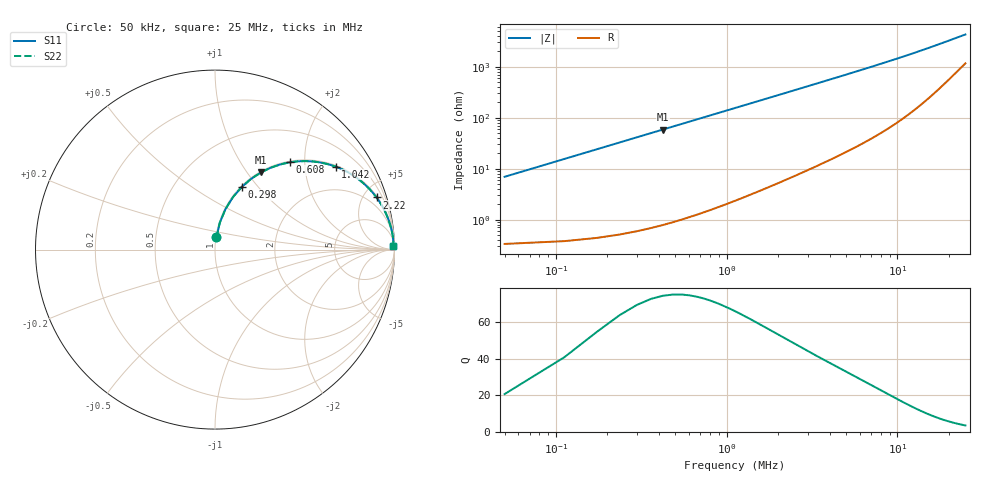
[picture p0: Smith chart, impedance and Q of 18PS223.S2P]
! Coilcraft 1812PS-223 Power Chip Inductor
! 1 October 2002
# MHZ S MA R 50
!Freq  MagS11  AngS11  MagS21  AngS21  MagS12  AngS12  MagS22  AngS22
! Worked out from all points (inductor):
!   404 points, 50 kHz to 25 MHz, reference 50 ohm
!   read as one part in series: L = 22 uH near 174 kHz
!   highest Q = 74.1 at 422 kHz (marker M1), where L = 22 uH
!   S11 on the Smith chart (normalised r, x): 50 kHz: 1.01, +0.14; 298 kHz: 1.01, +0.82; 608 kHz: 1.02, +1.68; 1.042 MHz: 1.04, +2.88; 2.22 MHz: 1.12, +6.15; 25 MHz: 24, +83
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0.05  0.0688 83.3  0.9943 -3.9  0.9943 -3.9  0.0688 83.3
0.112  0.1525 79.8  0.9846 -8.8  0.9846 -8.8  0.1525 79.8
0.236  0.3088 71.1  0.9463 -18.0  0.9463 -18.0  0.3088 71.1
0.298  0.379 66.9  0.92 -22.3  0.92 -22.3  0.379 66.9
0.36  0.4431 62.9  0.8904 -26.3  0.8904 -26.3  0.4431 62.9
0.422  0.501 59.2  0.8588 -30.1  0.8588 -30.1  0.501 59.2
0.484  0.5527 55.7  0.826 -33.6  0.826 -33.6  0.5527 55.7
0.608  0.6393 49.5  0.7605 -39.7  0.7605 -39.7  0.6393 49.5
0.794  0.7342 42.0  0.6688 -47.2  0.6688 -47.2  0.7342 42.0
1.042  0.8159 34.5  0.5662 -54.7  0.5662 -54.7  0.8159 34.5
1.29  0.8666 29.0  0.4856 -60.0  0.4856 -60.0  0.8666 29.0
1.538  0.8993 25.0  0.4225 -64.0  0.4225 -64.0  0.8993 25.0
1.848  0.9257 21.2  0.3618 -67.8  0.3618 -67.8  0.9257 21.2
2.22  0.9456 17.9  0.3074 -71.0  0.3074 -71.0  0.9456 17.9
3.15  0.97 12.8  0.2217 -75.9  0.2217 -75.9  0.97 12.8
4.266  0.9818 9.5  0.165 -78.9  0.165 -78.9  0.9818 9.5
6.126  0.9894 6.6  0.1146 -81.4  0.1146 -81.4  0.9894 6.6
8.42  0.9928 4.7  0.08232 -82.6  0.08232 -82.6  0.9928 4.7
12.574  0.9946 3.0  0.05306 -82.6  0.05306 -82.6  0.9946 3.0
16.728  0.9947 2.2  0.038 -80.8  0.038 -80.8  0.9947 2.2
20.882  0.9942 1.6  0.02894 -77.6  0.02894 -77.6  0.9942 1.6
25  0.9935 1.3  0.02312 -73.0  0.02312 -73.0  0.9935 1.3
